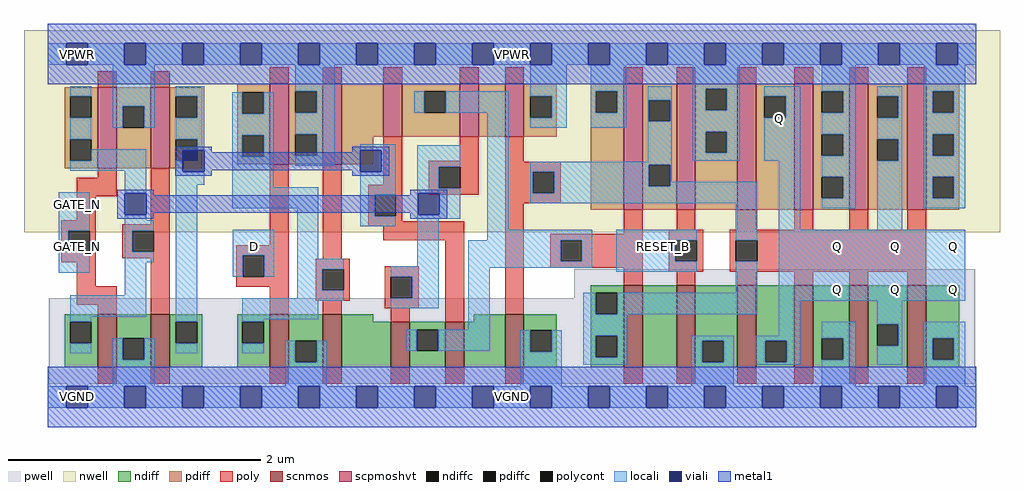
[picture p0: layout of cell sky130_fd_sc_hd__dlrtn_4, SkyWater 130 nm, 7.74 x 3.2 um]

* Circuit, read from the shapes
.subckt sky130_fd_sc_hd__dlrtn_4 D GATE_N RESET_B VGND VNB VPB VPWR Q
XM1 VGND GATE_N n1 VNB sky130_fd_pr__nfet_01v8 w=0.42 l=0.15
XM2 n2 n1 VGND VNB sky130_fd_pr__nfet_01v8 w=0.42 l=0.15
XM3 VGND D n3 VNB sky130_fd_pr__nfet_01v8 w=0.42 l=0.15
XM4 n4 n3 VGND VNB sky130_fd_pr__nfet_01v8 w=0.42 l=0.15
XM5 n5 n1 n4 VNB sky130_fd_pr__nfet_01v8 w=0.36 l=0.15
XM6 n6 n2 n5 VNB sky130_fd_pr__nfet_01v8 w=0.36 l=0.15
XM7 VGND n7 n6 VNB sky130_fd_pr__nfet_01v8 w=0.42 l=0.15
XM8 n8 n5 n7 VNB sky130_fd_pr__nfet_01v8 w=0.65 l=0.15
XM9 VGND RESET_B n8 VNB sky130_fd_pr__nfet_01v8 w=0.65 l=0.15
XM10 Q n7 VGND VNB sky130_fd_pr__nfet_01v8 w=0.65 l=0.15 m=4
XM11 VPWR GATE_N n1 VPB sky130_fd_pr__pfet_01v8_hvt w=0.64 l=0.15
XM12 n2 n1 VPWR VPB sky130_fd_pr__pfet_01v8_hvt w=0.64 l=0.15
XM13 VPWR D n3 VPB sky130_fd_pr__pfet_01v8_hvt w=0.64 l=0.15
XM14 n9 n3 VPWR VPB sky130_fd_pr__pfet_01v8_hvt w=0.64 l=0.15
XM15 n5 n2 n9 VPB sky130_fd_pr__pfet_01v8_hvt w=0.42 l=0.15
XM16 n10 n1 n5 VPB sky130_fd_pr__pfet_01v8_hvt w=0.42 l=0.15
XM17 VPWR n7 n10 VPB sky130_fd_pr__pfet_01v8_hvt w=0.42 l=0.15
XM18 n7 n5 VPWR VPB sky130_fd_pr__pfet_01v8_hvt w=1 l=0.15
XM19 VPWR RESET_B n7 VPB sky130_fd_pr__pfet_01v8_hvt w=1 l=0.15
XM20 Q n7 VPWR VPB sky130_fd_pr__pfet_01v8_hvt w=1 l=0.15 m=4
.ends

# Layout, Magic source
magic
tech sky130A
magscale 1 2
<< nwell >>
rect -38 261 1510 582
<< pwell >>
rect 835 157 1471 203
rect 1 21 1471 157
rect 30 -17 64 21
<< scnmos >>
rect 79 47 109 131
rect 163 47 193 131
rect 352 47 382 131
rect 436 47 466 131
rect 544 47 574 119
rect 630 47 660 119
rect 725 47 755 131
rect 913 47 943 177
rect 997 47 1027 177
rect 1093 47 1123 177
rect 1184 47 1214 177
rect 1271 47 1301 177
rect 1363 47 1393 177
<< scpmoshvt >>
rect 79 363 109 491
rect 163 363 193 491
rect 352 369 382 497
rect 436 369 466 497
rect 532 413 562 497
rect 653 413 683 497
rect 725 413 755 497
rect 913 297 943 497
rect 997 297 1027 497
rect 1093 297 1123 497
rect 1184 297 1214 497
rect 1271 297 1301 497
rect 1363 297 1393 497
<< ndiff >>
rect 27 119 79 131
rect 27 85 35 119
rect 69 85 79 119
rect 27 47 79 85
rect 109 93 163 131
rect 109 59 119 93
rect 153 59 163 93
rect 109 47 163 59
rect 193 119 245 131
rect 193 85 203 119
rect 237 85 245 119
rect 193 47 245 85
rect 300 119 352 131
rect 300 85 308 119
rect 342 85 352 119
rect 300 47 352 85
rect 382 89 436 131
rect 382 55 392 89
rect 426 55 436 89
rect 382 47 436 55
rect 466 119 516 131
rect 861 165 913 177
rect 861 131 869 165
rect 903 131 913 165
rect 675 119 725 131
rect 466 47 544 119
rect 574 107 630 119
rect 574 73 585 107
rect 619 73 630 107
rect 574 47 630 73
rect 660 47 725 119
rect 755 106 807 131
rect 755 72 765 106
rect 799 72 807 106
rect 755 47 807 72
rect 861 97 913 131
rect 861 63 869 97
rect 903 63 913 97
rect 861 47 913 63
rect 943 47 997 177
rect 1027 89 1093 177
rect 1027 55 1038 89
rect 1072 55 1093 89
rect 1027 47 1093 55
rect 1123 89 1184 177
rect 1123 55 1138 89
rect 1172 55 1184 89
rect 1123 47 1184 55
rect 1214 93 1271 177
rect 1214 59 1227 93
rect 1261 59 1271 93
rect 1214 47 1271 59
rect 1301 115 1363 177
rect 1301 81 1315 115
rect 1349 81 1363 115
rect 1301 47 1363 81
rect 1393 93 1445 177
rect 1393 59 1403 93
rect 1437 59 1445 93
rect 1393 47 1445 59
<< pdiff >>
rect 27 477 79 491
rect 27 443 35 477
rect 69 443 79 477
rect 27 409 79 443
rect 27 375 35 409
rect 69 375 79 409
rect 27 363 79 375
rect 109 461 163 491
rect 109 427 119 461
rect 153 427 163 461
rect 109 363 163 427
rect 193 477 245 491
rect 193 443 203 477
rect 237 443 245 477
rect 193 409 245 443
rect 193 375 203 409
rect 237 375 245 409
rect 193 363 245 375
rect 300 483 352 497
rect 300 449 308 483
rect 342 449 352 483
rect 300 415 352 449
rect 300 381 308 415
rect 342 381 352 415
rect 300 369 352 381
rect 382 485 436 497
rect 382 451 392 485
rect 426 451 436 485
rect 382 417 436 451
rect 382 383 392 417
rect 426 383 436 417
rect 382 369 436 383
rect 466 413 532 497
rect 562 485 653 497
rect 562 451 597 485
rect 631 451 653 485
rect 562 413 653 451
rect 683 413 725 497
rect 755 477 807 497
rect 755 443 765 477
rect 799 443 807 477
rect 755 413 807 443
rect 861 485 913 497
rect 861 451 869 485
rect 903 451 913 485
rect 466 369 516 413
rect 861 297 913 451
rect 943 471 997 497
rect 943 437 953 471
rect 987 437 997 471
rect 943 368 997 437
rect 943 334 953 368
rect 987 334 997 368
rect 943 297 997 334
rect 1027 489 1093 497
rect 1027 455 1043 489
rect 1077 455 1093 489
rect 1027 421 1093 455
rect 1027 387 1043 421
rect 1077 387 1093 421
rect 1027 297 1093 387
rect 1123 477 1184 497
rect 1123 443 1136 477
rect 1170 443 1184 477
rect 1123 297 1184 443
rect 1214 485 1271 497
rect 1214 451 1227 485
rect 1261 451 1271 485
rect 1214 417 1271 451
rect 1214 383 1227 417
rect 1261 383 1271 417
rect 1214 349 1271 383
rect 1214 315 1227 349
rect 1261 315 1271 349
rect 1214 297 1271 315
rect 1301 477 1363 497
rect 1301 443 1315 477
rect 1349 443 1363 477
rect 1301 409 1363 443
rect 1301 375 1315 409
rect 1349 375 1363 409
rect 1301 297 1363 375
rect 1393 485 1445 497
rect 1393 451 1403 485
rect 1437 451 1445 485
rect 1393 417 1445 451
rect 1393 383 1403 417
rect 1437 383 1445 417
rect 1393 349 1445 383
rect 1393 315 1403 349
rect 1437 315 1445 349
rect 1393 297 1445 315
<< ndiffc >>
rect 35 85 69 119
rect 119 59 153 93
rect 203 85 237 119
rect 308 85 342 119
rect 392 55 426 89
rect 869 131 903 165
rect 585 73 619 107
rect 765 72 799 106
rect 869 63 903 97
rect 1038 55 1072 89
rect 1138 55 1172 89
rect 1227 59 1261 93
rect 1315 81 1349 115
rect 1403 59 1437 93
<< pdiffc >>
rect 35 443 69 477
rect 35 375 69 409
rect 119 427 153 461
rect 203 443 237 477
rect 203 375 237 409
rect 308 449 342 483
rect 308 381 342 415
rect 392 451 426 485
rect 392 383 426 417
rect 597 451 631 485
rect 765 443 799 477
rect 869 451 903 485
rect 953 437 987 471
rect 953 334 987 368
rect 1043 455 1077 489
rect 1043 387 1077 421
rect 1136 443 1170 477
rect 1227 451 1261 485
rect 1227 383 1261 417
rect 1227 315 1261 349
rect 1315 443 1349 477
rect 1315 375 1349 409
rect 1403 451 1437 485
rect 1403 383 1437 417
rect 1403 315 1437 349
<< poly >>
rect 79 491 109 517
rect 163 491 193 517
rect 352 497 382 523
rect 436 497 466 523
rect 532 497 562 523
rect 653 497 683 523
rect 725 497 755 523
rect 913 497 943 523
rect 997 497 1027 523
rect 1093 497 1123 523
rect 1184 497 1214 523
rect 1271 497 1301 523
rect 1363 497 1393 523
rect 79 348 109 363
rect 46 318 109 348
rect 46 280 76 318
rect 21 264 76 280
rect 163 274 193 363
rect 21 230 32 264
rect 66 230 76 264
rect 21 214 76 230
rect 118 264 193 274
rect 118 230 134 264
rect 168 230 193 264
rect 352 241 382 369
rect 118 220 193 230
rect 46 176 76 214
rect 46 146 109 176
rect 79 131 109 146
rect 163 131 193 220
rect 299 225 382 241
rect 299 191 309 225
rect 343 191 382 225
rect 436 219 466 369
rect 532 337 562 413
rect 653 375 683 413
rect 508 321 562 337
rect 604 365 683 375
rect 604 331 620 365
rect 654 331 683 365
rect 604 321 683 331
rect 725 373 755 413
rect 725 357 813 373
rect 725 323 769 357
rect 803 323 813 357
rect 508 287 518 321
rect 552 287 562 321
rect 508 279 562 287
rect 725 307 813 323
rect 508 271 660 279
rect 532 249 660 271
rect 299 175 382 191
rect 352 131 382 175
rect 425 203 479 219
rect 425 169 435 203
rect 469 169 479 203
rect 425 153 479 169
rect 534 191 588 207
rect 534 157 544 191
rect 578 157 588 191
rect 436 131 466 153
rect 534 141 588 157
rect 544 119 574 141
rect 630 119 660 249
rect 725 131 755 307
rect 913 259 943 297
rect 997 265 1027 297
rect 1093 265 1123 297
rect 1184 265 1214 297
rect 1271 265 1301 297
rect 1363 265 1393 297
rect 797 249 943 259
rect 797 215 813 249
rect 847 215 943 249
rect 797 205 943 215
rect 913 177 943 205
rect 985 249 1039 265
rect 985 215 995 249
rect 1029 215 1039 249
rect 985 199 1039 215
rect 1081 249 1393 265
rect 1081 215 1091 249
rect 1125 215 1393 249
rect 1081 199 1393 215
rect 997 177 1027 199
rect 1093 177 1123 199
rect 1184 177 1214 199
rect 1271 177 1301 199
rect 1363 177 1393 199
rect 79 21 109 47
rect 163 21 193 47
rect 352 21 382 47
rect 436 21 466 47
rect 544 21 574 47
rect 630 21 660 47
rect 725 21 755 47
rect 913 21 943 47
rect 997 21 1027 47
rect 1093 21 1123 47
rect 1184 21 1214 47
rect 1271 21 1301 47
rect 1363 21 1393 47
<< polycont >>
rect 32 230 66 264
rect 134 230 168 264
rect 309 191 343 225
rect 620 331 654 365
rect 769 323 803 357
rect 518 287 552 321
rect 435 169 469 203
rect 544 157 578 191
rect 813 215 847 249
rect 995 215 1029 249
rect 1091 215 1125 249
<< locali >>
rect 0 527 29 561
rect 63 527 121 561
rect 155 527 213 561
rect 247 527 305 561
rect 339 527 397 561
rect 431 527 489 561
rect 523 527 581 561
rect 615 527 673 561
rect 707 527 765 561
rect 799 527 857 561
rect 891 527 949 561
rect 983 527 1041 561
rect 1075 527 1133 561
rect 1167 527 1225 561
rect 1259 527 1317 561
rect 1351 527 1409 561
rect 1443 527 1472 561
rect 35 477 69 493
rect 35 409 69 443
rect 103 461 169 527
rect 103 427 119 461
rect 153 427 169 461
rect 203 477 248 493
rect 392 485 455 527
rect 237 443 248 477
rect 203 409 248 443
rect 69 375 156 393
rect 35 359 156 375
rect 17 264 66 325
rect 17 230 32 264
rect 17 197 66 230
rect 122 323 156 359
rect 122 280 156 289
rect 237 391 248 409
rect 203 357 214 375
rect 203 337 248 357
rect 292 449 308 483
rect 342 449 358 483
rect 292 415 358 449
rect 292 381 308 415
rect 342 381 358 415
rect 122 264 168 280
rect 122 230 134 264
rect 122 214 168 230
rect 122 161 156 214
rect 35 127 156 161
rect 35 119 69 127
rect 203 119 237 337
rect 292 333 358 381
rect 426 451 455 485
rect 581 451 597 485
rect 631 451 731 485
rect 392 417 455 451
rect 426 383 455 417
rect 392 367 455 383
rect 495 391 552 401
rect 529 357 552 391
rect 292 299 429 333
rect 293 225 359 265
rect 293 191 309 225
rect 343 191 359 225
rect 395 219 429 299
rect 495 321 552 357
rect 495 287 518 321
rect 495 271 552 287
rect 586 365 654 399
rect 586 331 620 365
rect 586 323 654 331
rect 586 289 587 323
rect 621 289 654 323
rect 586 283 654 289
rect 395 203 469 219
rect 586 207 620 283
rect 697 265 731 451
rect 765 477 823 527
rect 799 443 823 477
rect 765 427 823 443
rect 861 485 917 527
rect 861 451 869 485
rect 903 451 917 485
rect 861 427 917 451
rect 951 471 989 493
rect 951 437 953 471
rect 987 437 989 471
rect 951 373 989 437
rect 1023 489 1097 527
rect 1023 455 1043 489
rect 1077 455 1097 489
rect 1023 421 1097 455
rect 1023 387 1043 421
rect 1077 387 1097 421
rect 1023 375 1097 387
rect 1136 477 1193 493
rect 1170 443 1193 477
rect 1136 375 1193 443
rect 765 368 989 373
rect 765 357 953 368
rect 765 323 769 357
rect 803 334 953 357
rect 987 341 989 368
rect 987 334 1125 341
rect 803 323 1125 334
rect 765 307 1125 323
rect 697 249 863 265
rect 395 169 435 203
rect 395 157 469 169
rect 35 69 69 85
rect 103 59 119 93
rect 153 59 169 93
rect 203 69 237 85
rect 308 153 469 157
rect 544 191 620 207
rect 578 157 620 191
rect 308 123 429 153
rect 544 141 620 157
rect 667 215 813 249
rect 847 215 863 249
rect 667 205 863 215
rect 901 249 1029 265
rect 901 215 995 249
rect 308 119 342 123
rect 667 107 701 205
rect 901 199 1029 215
rect 1091 249 1125 307
rect 1091 165 1125 215
rect 308 69 342 85
rect 103 17 169 59
rect 376 55 392 89
rect 426 55 442 89
rect 569 73 585 107
rect 619 73 701 107
rect 849 131 869 165
rect 903 131 1125 165
rect 1159 265 1193 375
rect 1227 485 1281 527
rect 1261 451 1281 485
rect 1227 417 1281 451
rect 1261 383 1281 417
rect 1227 349 1281 383
rect 1261 315 1281 349
rect 1227 299 1281 315
rect 1315 477 1355 493
rect 1349 443 1355 477
rect 1315 409 1355 443
rect 1349 375 1355 409
rect 1315 265 1355 375
rect 1389 485 1455 527
rect 1389 451 1403 485
rect 1437 451 1455 485
rect 1389 417 1455 451
rect 1389 383 1403 417
rect 1437 383 1455 417
rect 1389 349 1455 383
rect 1389 315 1403 349
rect 1437 315 1455 349
rect 1389 299 1455 315
rect 1159 153 1455 265
rect 376 17 442 55
rect 749 72 765 106
rect 799 72 815 106
rect 749 17 815 72
rect 849 97 919 131
rect 1159 97 1193 153
rect 849 63 869 97
rect 903 63 919 97
rect 849 51 919 63
rect 1020 89 1088 97
rect 1020 55 1038 89
rect 1072 55 1088 89
rect 1020 17 1088 55
rect 1122 89 1193 97
rect 1122 55 1138 89
rect 1172 55 1193 89
rect 1122 51 1193 55
rect 1227 93 1281 119
rect 1261 59 1281 93
rect 1227 17 1281 59
rect 1315 115 1355 153
rect 1349 81 1355 115
rect 1315 51 1355 81
rect 1389 93 1455 119
rect 1389 59 1403 93
rect 1437 59 1455 93
rect 1389 17 1455 59
rect 0 -17 29 17
rect 63 -17 121 17
rect 155 -17 213 17
rect 247 -17 305 17
rect 339 -17 397 17
rect 431 -17 489 17
rect 523 -17 581 17
rect 615 -17 673 17
rect 707 -17 765 17
rect 799 -17 857 17
rect 891 -17 949 17
rect 983 -17 1041 17
rect 1075 -17 1133 17
rect 1167 -17 1225 17
rect 1259 -17 1317 17
rect 1351 -17 1409 17
rect 1443 -17 1472 17
<< viali >>
rect 29 527 63 561
rect 121 527 155 561
rect 213 527 247 561
rect 305 527 339 561
rect 397 527 431 561
rect 489 527 523 561
rect 581 527 615 561
rect 673 527 707 561
rect 765 527 799 561
rect 857 527 891 561
rect 949 527 983 561
rect 1041 527 1075 561
rect 1133 527 1167 561
rect 1225 527 1259 561
rect 1317 527 1351 561
rect 1409 527 1443 561
rect 122 289 156 323
rect 214 375 237 391
rect 237 375 248 391
rect 214 357 248 375
rect 495 357 529 391
rect 587 289 621 323
rect 29 -17 63 17
rect 121 -17 155 17
rect 213 -17 247 17
rect 305 -17 339 17
rect 397 -17 431 17
rect 489 -17 523 17
rect 581 -17 615 17
rect 673 -17 707 17
rect 765 -17 799 17
rect 857 -17 891 17
rect 949 -17 983 17
rect 1041 -17 1075 17
rect 1133 -17 1167 17
rect 1225 -17 1259 17
rect 1317 -17 1351 17
rect 1409 -17 1443 17
<< metal1 >>
rect 0 561 1472 592
rect 0 527 29 561
rect 63 527 121 561
rect 155 527 213 561
rect 247 527 305 561
rect 339 527 397 561
rect 431 527 489 561
rect 523 527 581 561
rect 615 527 673 561
rect 707 527 765 561
rect 799 527 857 561
rect 891 527 949 561
rect 983 527 1041 561
rect 1075 527 1133 561
rect 1167 527 1225 561
rect 1259 527 1317 561
rect 1351 527 1409 561
rect 1443 527 1472 561
rect 0 496 1472 527
rect 202 391 260 397
rect 202 357 214 391
rect 248 388 260 391
rect 483 391 541 397
rect 483 388 495 391
rect 248 360 495 388
rect 248 357 260 360
rect 202 351 260 357
rect 483 357 495 360
rect 529 357 541 391
rect 483 351 541 357
rect 110 323 168 329
rect 110 289 122 323
rect 156 320 168 323
rect 575 323 633 329
rect 575 320 587 323
rect 156 292 587 320
rect 156 289 168 292
rect 110 283 168 289
rect 575 289 587 292
rect 621 289 633 323
rect 575 283 633 289
rect 0 17 1472 48
rect 0 -17 29 17
rect 63 -17 121 17
rect 155 -17 213 17
rect 247 -17 305 17
rect 339 -17 397 17
rect 431 -17 489 17
rect 523 -17 581 17
rect 615 -17 673 17
rect 707 -17 765 17
rect 799 -17 857 17
rect 891 -17 949 17
rect 983 -17 1041 17
rect 1075 -17 1133 17
rect 1167 -17 1225 17
rect 1259 -17 1317 17
rect 1351 -17 1409 17
rect 1443 -17 1472 17
rect 0 -48 1472 -17
<< labels >>
flabel locali s 1143 425 1177 459 0 FreeSans 200 0 0 0 Q
port 8 nsew signal output
flabel locali s 1327 153 1361 187 0 FreeSans 200 0 0 0 Q
port 8 nsew signal output
flabel locali s 1235 221 1269 255 0 FreeSans 200 0 0 0 Q
port 8 nsew signal output
flabel locali s 311 221 345 255 0 FreeSans 200 0 0 0 D
port 1 nsew signal input
flabel locali s 30 221 64 255 0 FreeSans 200 0 0 0 GATE_N
port 2 nsew clock input
flabel locali s 30 289 64 323 0 FreeSans 200 0 0 0 GATE_N
port 2 nsew clock input
flabel locali s 1419 153 1453 187 0 FreeSans 200 0 0 0 Q
port 8 nsew signal output
flabel locali s 1419 221 1453 255 0 FreeSans 200 0 0 0 Q
port 8 nsew signal output
flabel locali s 1327 221 1361 255 0 FreeSans 200 0 0 0 Q
port 8 nsew signal output
flabel locali s 959 221 993 255 0 FreeSans 200 0 0 0 RESET_B
port 3 nsew signal input
flabel locali s 1235 153 1269 187 0 FreeSans 200 0 0 0 Q
port 8 nsew signal output
flabel metal1 s 30 527 64 561 0 FreeSans 200 0 0 0 VPWR
port 7 nsew power bidirectional abutment
flabel metal1 s 30 -17 64 17 0 FreeSans 200 0 0 0 VGND
port 4 nsew ground bidirectional abutment
flabel metal1 s 46 544 46 544 0 FreeSans 200 0 0 0 VPWR
flabel metal1 s 0 496 1472 592 0 FreeSans 200 0 0 0 VPWR
port 7 nsew power bidirectional abutment
flabel nwell s 30 527 64 561 0 FreeSans 200 0 0 0 VPB
port 6 nsew power bidirectional
flabel nwell s 47 544 47 544 0 FreeSans 200 0 0 0 VPB
flabel nwell s 47 544 47 544 0 FreeSans 200 0 0 0 VPB
flabel nwell s 47 544 47 544 0 FreeSans 200 0 0 0 VPB
flabel pwell s 30 -17 64 17 0 FreeSans 200 0 0 0 VNB
port 5 nsew ground bidirectional
rlabel comment s 0 0 0 0 4 dlrtn_4
rlabel metal1 s 0 -48 1472 48 1 VGND
port 4 nsew ground bidirectional abutment
<< properties >>
string FIXED_BBOX 0 0 1472 544
string GDS_END 2760688
string GDS_FILE $PDKPATH/libs.ref/sky130_fd_sc_hd/gds/sky130_fd_sc_hd.gds
string GDS_START 2747962
string LEFclass CORE
string LEFsite unithd
string LEFsymmetry X Y R90
<< end >>
